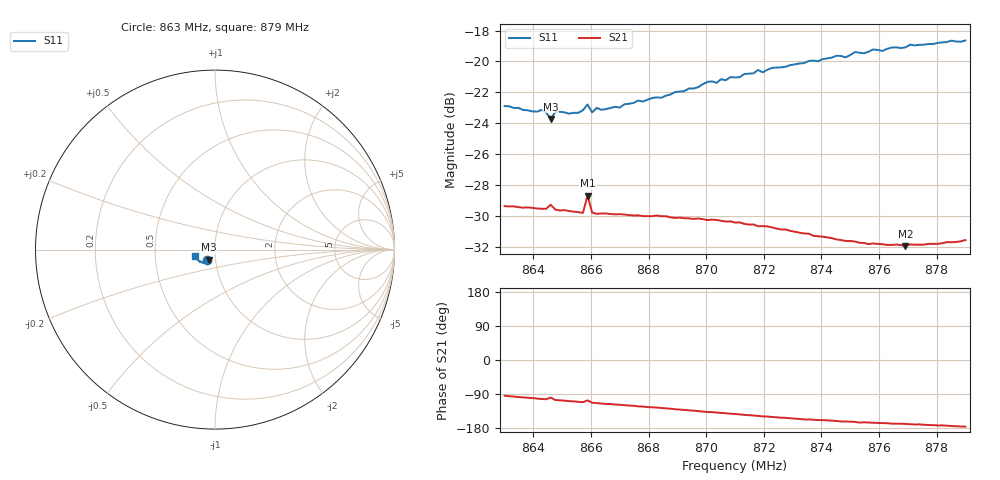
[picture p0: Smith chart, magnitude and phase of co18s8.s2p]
# HZ S RI R 50
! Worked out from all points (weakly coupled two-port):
!   101 points, 863 MHz to 879 MHz, reference 50 ohm
!   highest |S21| = -28.67 dB at 865.88 MHz (marker M1); lowest = -31.9 dB at 876.92 MHz (marker M2)
!   lowest |S11| = -23.7 dB at 864.6 MHz (marker M3), VSWR 1.14, Z = 46.4 - j5.19 ohm
!   |S11| at or under -10 dB: start of sweep to end of sweep
!   S12 and S22 are empty: the file has one direction only
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8.63e8  -0.0449 -0.056  -0.00248 -0.034  0 0  0 0
8.6396e8  -0.0408 -0.0557  -0.00608 -0.0331  0 0  0 0
8.6428e8  -0.0392 -0.0576  -0.00746 -0.0326  0 0  0 0
8.646e8  -0.0338 -0.0557  -0.00538 -0.034  0 0  0 0
8.6476e8  -0.0393 -0.0564  -0.00887 -0.032  0 0  0 0
8.6524e8  -0.0376 -0.0565  -0.0105 -0.0311  0 0  0 0
8.6572e8  -0.0364 -0.0593  -0.0118 -0.0302  0 0  0 0
8.6588e8  -0.0262 -0.0677  -0.0105 -0.0353  0 0  0 0
8.6604e8  -0.0353 -0.0586  -0.0126 -0.0299  0 0  0 0
8.662e8  -0.0369 -0.0604  -0.0129 -0.0294  0 0  0 0
8.67e8  -0.0357 -0.0612  -0.0151 -0.0283  0 0  0 0
8.6764e8  -0.037 -0.065  -0.017 -0.0269  0 0  0 0
8.6844e8  -0.0378 -0.0663  -0.0189 -0.0253  0 0  0 0
8.7004e8  -0.0459 -0.0726  -0.0225 -0.0209  0 0  0 0
8.7036e8  -0.0456 -0.0721  -0.0231 -0.0202  0 0  0 0
8.71e8  -0.0503 -0.0732  -0.0239 -0.0184  0 0  0 0
8.718e8  -0.0568 -0.0747  -0.0247 -0.0158  0 0  0 0
8.7196e8  -0.0555 -0.0737  -0.0251 -0.0152  0 0  0 0
8.7372e8  -0.0691 -0.0732  -0.0253 -0.0104  0 0  0 0
8.7644e8  -0.0937 -0.0594  -0.025 -0.00529  0 0  0 0
8.7692e8  -0.0958 -0.0563  -0.0248 -0.00499  0 0  0 0
8.79e8  -0.1107 -0.0378  -0.0264 -0.00186  0 0  0 0
